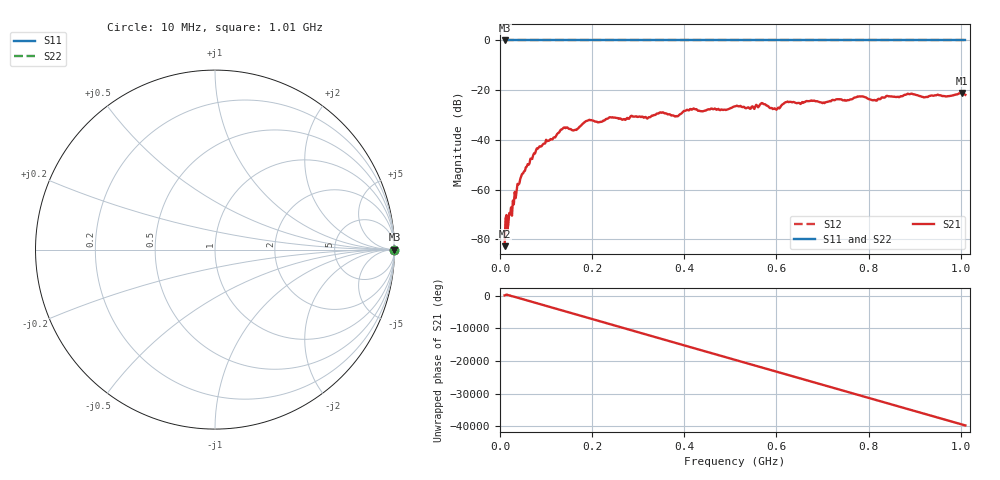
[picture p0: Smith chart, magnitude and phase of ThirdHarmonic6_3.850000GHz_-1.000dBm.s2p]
! 8/17/2025 1:25:56 PM
! C:\ANRITSUVNA\TEMP\TEMP.S2P
! CHANNEL.1
! TR.MEASUREMENT
! RAW.DATA
! RF.CORRECTION.OFF
! AVERAGING.OFF
! IF.BANDWIDTH: 5KHZ
! SWEEPTYPE:  FREQ.SWEEP(Linear)
! Reference Plane Port Info
! PORT:  PORT1  PORT2
! DISTANCE:  0  m  0  m
! TIME:  0  s  0  s
! PHASE.OFFSET:  0  deg.  0  deg.
! LOSS:  0  dB  0  dB
! REF.LOSS:  0  dB  0  dB
! REF.FREQ:  0  Hz  0  Hz
! Power Info
! POWER:  -20  dBm  -20  dBm
! EFF.POWER:  -20  dBm  -20  dBm
! SOURCE.ATTEN:  0  dB  0  dB
! TEST.ATTEN:  0  dB  0  dB
# GHZ S RI R 50.0
! FREQ.GHZ  S11RE  S11IM  S21RE  S21IM  S12RE  S12IM  S22RE  S22IM
!; PortSelection: Port_12
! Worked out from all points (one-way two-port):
!   501 points, 10 MHz to 1.01 GHz, reference 50 ohm
!   highest |S21| = -21.14 dB at 1.002 GHz (marker M1); lowest = -82.8 dB at 10 MHz (marker M2)
!   lowest |S11| = 0.0 dB at 10 MHz (marker M3)
!   |S11| at or under -10 dB: nowhere
!   |S22| runs from 0.0 to 0.0 dB; largest |S21 - S12| = 1.1
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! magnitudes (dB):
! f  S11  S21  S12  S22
! 10 MHz  0.0  -82.8  0.0  0.0
! 42 MHz  0.0  -57.6  0.0  0.0
! 82 MHz  0.0  -43.6  0.0  0.0
! 136 MHz  0.0  -35.5  0.0  0.0
! 162 MHz  0.0  -36.0  0.0  0.0
! 178 MHz  0.0  -33.8  0.0  0.0
! 194 MHz  0.0  -31.9  0.0  0.0
! 322 MHz  0.0  -31.0  0.0  0.0
! 344 MHz  0.0  -29.5  0.0  0.0
! 382 MHz  0.0  -30.4  0.0  0.0
! 416 MHz  0.0  -27.9  0.0  0.0
! 510 MHz  0.0  -26.5  0.0  0.0
! 570 MHz  0.0  -25.3  0.0  0.0
! 596 MHz  0.0  -27.3  0.0  0.0
! 622 MHz  0.0  -24.8  0.0  0.0
! 678 MHz  0.0  -24.3  0.0  0.0
! 702 MHz  0.0  -25.0  0.0  0.0
! 784 MHz  0.0  -22.5  0.0  0.0
! 814 MHz  0.0  -24.0  0.0  0.0
! 844 MHz  0.0  -22.5  0.0  0.0
! 1.002 GHz  0.0  -21.1  0.0  0.0
! 1.01 GHz  0.0  -21.9  0.0  0.0
